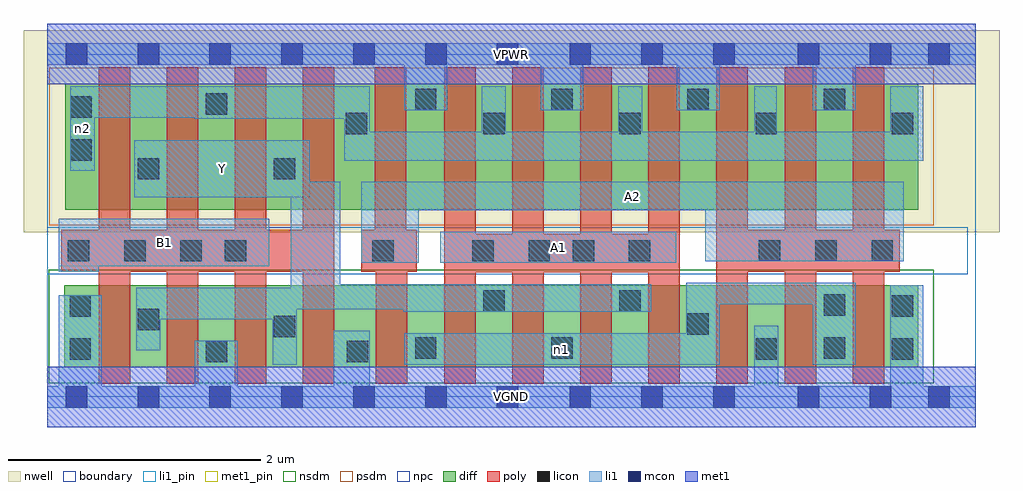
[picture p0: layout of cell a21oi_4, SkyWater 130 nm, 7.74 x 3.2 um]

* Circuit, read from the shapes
.subckt a21oi_4 A1 A2 B1 VGND VPWR Y n1 n2
XM1 Y B1 VGND VSUBS sky130_fd_pr__nfet_01v8 w=0.65 l=0.25 m=4
XM2 n1 A2 VGND VSUBS sky130_fd_pr__nfet_01v8 w=0.65 l=0.25 m=4
XM3 Y A1 n1 VSUBS sky130_fd_pr__nfet_01v8 w=0.65 l=0.25 m=4
XM4 Y B1 n2 n3 sky130_fd_pr__pfet_01v8 w=1 l=0.25 m=4
XM5 VPWR A2 n2 n3 sky130_fd_pr__pfet_01v8 w=1 l=0.25 m=4
XM6 n2 A1 VPWR n3 sky130_fd_pr__pfet_01v8 w=1 l=0.25 m=4
.ends

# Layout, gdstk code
import gdstk
lib = gdstk.Library(unit=1e-6, precision=1e-09)
def R(c, l, rs):  # rectangles x0, y0, x1, y1
    for r in rs: c.add(gdstk.rectangle(r[:2], r[2:], *l))
def A(c, l, x, y, w, h, nx, ny, dx, dy):  # array of equal rectangles
    R(c, l, [(x+i*dx, y+j*dy, x+i*dx+w, y+j*dy+h) for i in range(nx) for j in range(ny)])
nwell = (64, 20)
diff = (65, 20)
poly = (66, 20)
licon = (66, 44)
li1_pin = (67, 16)
li1 = (67, 20)
mcon = (67, 44)
met1_pin = (68, 16)
met1 = (68, 20)
nsdm = (93, 44)
psdm = (94, 20)
npc = (95, 20)
boundary = (235, 4)

a21oi_4 = lib.new_cell('a21oi_4')
R(a21oi_4, nwell, [(-0.19,1.305,7.55,2.91), (0,1.305,7.36,2.91)])
R(a21oi_4, diff, [(0.135,0.235,6.905,0.885), (0.14,1.485,6.905,2.485)])
A(a21oi_4, poly, 0.405, 0.105, 0.25, 2.51, 4, 1, 0.54, 0)
A(a21oi_4, poly, 3.145, 0.105, 0.25, 2.51, 7, 1, 0.54, 0)
R(a21oi_4, poly, [(2.605,0.105,2.855,1.325), (3.145,0.99,5.015,1.295), (0.11,0.995,2.275,1.325), (2.49,0.995,2.93,1.325), (2.595,0.995,2.845,2.615), (5.305,0.995,6.76,1.325)])
A(a21oi_4, licon, 3.455, 2.085, 0.17, 0.17, 4, 1, 1.08, 0)
A(a21oi_4, licon, 2.915, 2.275, 0.17, 0.17, 4, 1, 1.08, 0)
R(a21oi_4, licon, [(1.255,0.275,1.425,0.445), (2.375,0.275,2.545,0.445), (0.175,0.295,0.345,0.465), (5.615,0.295,5.785,0.465), (6.695,0.295,6.865,0.465), (2.915,0.305,3.085,0.475), (3.995,0.305,4.165,0.475), (6.155,0.305,6.325,0.475), (1.795,0.475,1.965,0.645), (5.075,0.495,5.245,0.665), (0.715,0.53,0.885,0.7), (0.175,0.635,0.345,0.805), (6.695,0.635,6.865,0.805), (6.155,0.645,6.325,0.815), (3.455,0.675,3.625,0.845), (4.535,0.675,4.705,0.845), (0.16,1.075,0.33,1.245), (0.61,1.075,0.78,1.245), (1.055,1.075,1.225,1.245), (1.405,1.075,1.575,1.245), (2.575,1.075,2.745,1.245), (3.37,1.075,3.54,1.245), (3.815,1.075,3.985,1.245), (4.165,1.075,4.335,1.245), (4.61,1.075,4.78,1.245), (5.64,1.075,5.81,1.245), (6.09,1.075,6.26,1.245), (6.535,1.075,6.705,1.245), (0.715,1.725,0.885,1.895), (1.795,1.725,1.965,1.895), (0.18,1.875,0.35,2.045), (2.365,2.085,2.535,2.255), (0.18,2.215,0.35,2.385), (1.255,2.24,1.425,2.41)])
R(a21oi_4, li1_pin, [(0.09,1.035,1.76,1.415), (3.115,1.065,4.985,1.31), (2.49,1.48,6.79,1.705), (0.69,1.585,2.08,2.035)])
A(a21oi_4, li1, 2.83, 2.275, 0.34, 0.53, 4, 1, 1.08, 0)
R(a21oi_4, li1, [(0,-0.085,7.36,0.085), (0.09,-0.085,0.43,0.805), (1.17,-0.085,1.51,0.445), (2.27,-0.085,2.555,0.525), (5.605,-0.085,5.795,0.565), (6.685,-0.085,6.945,0.885), (1.785,0.255,1.975,0.865), (2.83,0.255,5.33,0.505), (5.065,0.255,5.33,0.905), (6.07,0.255,6.41,0.905), (0.705,0.37,0.895,0.865), (0.705,0.615,1.975,0.865), (2.82,0.675,4.79,0.895), (1.93,0.695,4.79,0.895), (5.065,0.735,6.41,0.905), (1.93,0.895,2.32,1.705), (0.09,0.995,0.405,1.415), (0.09,1.035,1.76,1.415), (2.49,1.065,2.945,1.705), (3.115,1.065,4.985,1.31), (5.215,1.075,6.79,1.705), (2.49,1.48,6.79,1.705), (0.69,1.585,2.08,2.035), (0.18,1.795,0.375,2.465), (2.355,1.875,6.945,2.105), (2.355,1.875,2.555,2.465), (3.445,1.875,3.635,2.465), (4.525,1.875,4.715,2.465), (5.605,1.875,5.785,2.465), (6.685,1.875,6.945,2.465), (1.17,2.205,2.555,2.465), (0.18,2.215,2.555,2.465), (0,2.635,7.36,2.805)])
A(a21oi_4, mcon, 0.145, -0.085, 0.17, 0.17, 7, 2, 0.57, 2.72)
A(a21oi_4, mcon, 4.14, -0.085, 0.17, 0.17, 3, 2, 0.57, 2.72)
R(a21oi_4, mcon, [(5.95,-0.085,6.12,0.085), (6.52,-0.085,6.69,0.085), (6.985,-0.085,7.155,0.085), (5.95,2.635,6.12,2.805), (6.52,2.635,6.69,2.805), (6.985,2.635,7.155,2.805)])
R(a21oi_4, met1_pin, [(0,-0.24,7.36,0.24), (0,2.48,7.36,2.96)])
R(a21oi_4, met1, [(0,-0.24,7.36,0.24), (0,2.48,7.36,2.96)])
R(a21oi_4, nsdm, [(0.01,0.11,7.03,1.01)])
R(a21oi_4, psdm, [(0.015,1.36,7.03,2.61)])
R(a21oi_4, npc, [(0,0.975,7.3,1.345)])
R(a21oi_4, boundary, [(0,0,7.36,2.72)])
a21oi_4.add(gdstk.Label('A1', (4.05,1.187), layer=67, texttype=5))
a21oi_4.add(gdstk.Label('A2', (4.64,1.592), layer=67, texttype=5))
a21oi_4.add(gdstk.Label('B1', (0.925,1.225), layer=67, texttype=5))
a21oi_4.add(gdstk.Label('Y', (1.385,1.81), layer=67, texttype=5))
a21oi_4.add(gdstk.Label('n1', (4.08,0.38), layer=67, texttype=5))
a21oi_4.add(gdstk.Label('n2', (0.277,2.13), layer=67, texttype=5))
a21oi_4.add(gdstk.Label('VPWR', (3.68,2.72), layer=68, texttype=5))
a21oi_4.add(gdstk.Label('VGND', (3.68,0), layer=68, texttype=5))
a21oi_4.add(gdstk.Label('A1', (4.05,1.187), layer=67, texttype=16))
a21oi_4.add(gdstk.Label('A2', (4.64,1.592), layer=67, texttype=16))
a21oi_4.add(gdstk.Label('B1', (0.925,1.225), layer=67, texttype=16))
a21oi_4.add(gdstk.Label('Y', (1.385,1.81), layer=67, texttype=16))
a21oi_4.add(gdstk.Label('VPWR', (3.68,2.72), layer=68, texttype=16))
a21oi_4.add(gdstk.Label('VGND', (3.68,0), layer=68, texttype=16))

lib.write_gds('a21oi_4.gds')
